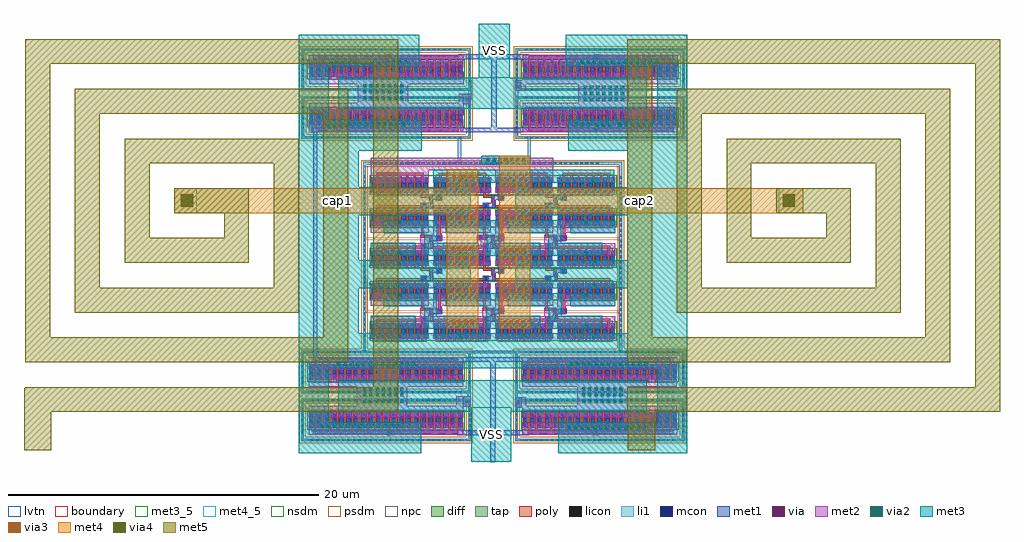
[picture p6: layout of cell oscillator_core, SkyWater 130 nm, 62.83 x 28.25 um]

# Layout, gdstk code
from math import pi, radians
import gdstk
lib = gdstk.Library(unit=1e-6, precision=1e-09)
def R(c, l, rs):  # rectangles x0, y0, x1, y1
    for r in rs: c.add(gdstk.rectangle(r[:2], r[2:], *l))
def A(c, l, x, y, w, h, nx, ny, dx, dy):  # array of equal rectangles
    R(c, l, [(x+i*dx, y+j*dy, x+i*dx+w, y+j*dy+h) for i in range(nx) for j in range(ny)])
diff = (65, 20)
tap = (65, 44)
poly = (66, 20)
licon = (66, 44)
li1 = (67, 20)
mcon = (67, 44)
met1 = (68, 20)
via = (68, 44)
met2 = (69, 20)
via2 = (69, 44)
met3_5 = (70, 5)
met3 = (70, 20)
via3 = (70, 44)
met4_5 = (71, 5)
met4 = (71, 20)
via4 = (71, 44)
met5 = (72, 20)
nsdm = (93, 44)
psdm = (94, 20)
npc = (95, 20)
lvtn = (125, 44)
boundary = (235, 4)

sky130_fd_pr__nfet_01v8_ = lib.new_cell('sky130_fd_pr__nfet_01v8_lvt_YTLFGX')
R(sky130_fd_pr__nfet_01v8_, diff, [(-4.95,-0.5,4.94,0.5)])
R(sky130_fd_pr__nfet_01v8_, tap, [(-5.46,-1.37,5.45,-1.2), (-5.46,-1.2,-5.29,1.2), (5.28,-1.2,5.45,1.2), (-5.46,1.2,5.45,1.37)])
A(sky130_fd_pr__nfet_01v8_, poly, -4.73, -0.94, 0.33, 0.08, 10, 1, 0.96, 0)
A(sky130_fd_pr__nfet_01v8_, poly, -4.64, -0.61, 0.15, 1.24, 20, 1, 0.48, 0)
R(sky130_fd_pr__nfet_01v8_, poly, [(-4.73,-0.86,4.63,-0.61)])
A(sky130_fd_pr__nfet_01v8_, licon, -4.85, -1.37, 0.17, 0.17, 29, 2, 0.34, 2.57)
A(sky130_fd_pr__nfet_01v8_, licon, -5.46, -0.765, 0.17, 0.17, 1, 5, 0, 0.34)
A(sky130_fd_pr__nfet_01v8_, licon, 5.28, -0.765, 0.17, 0.17, 1, 5, 0, 0.34)
A(sky130_fd_pr__nfet_01v8_, licon, -4.89, -0.425, 0.17, 0.17, 21, 3, 0.48, 0.34)
R(sky130_fd_pr__nfet_01v8_, licon, [(0.15,-0.86,0.32,-0.69)])
A(sky130_fd_pr__nfet_01v8_, li1, -4.89, -0.52, 0.17, 1.04, 21, 1, 0.48, 0)
R(sky130_fd_pr__nfet_01v8_, li1, [(-5.46,-1.37,5.45,-1.2), (-5.46,-1.2,-5.29,1.2), (5.28,-1.2,5.45,1.2), (0.07,-0.86,0.4,-0.69), (-5.46,1.2,5.45,1.37)])
A(sky130_fd_pr__nfet_01v8_, mcon, -4.89, -0.265, 0.17, 0.17, 21, 2, 0.48, 0.36)
R(sky130_fd_pr__nfet_01v8_, mcon, [(0.15,-0.86,0.32,-0.69)])
A(sky130_fd_pr__nfet_01v8_, met1, -4.97, -0.5, 0.33, 0.36, 11, 1, 0.96, 0)
A(sky130_fd_pr__nfet_01v8_, met1, -4.44, -0.5, 0.23, 0.64, 10, 1, 0.96, 0)
A(sky130_fd_pr__nfet_01v8_, met1, -4.92, -0.14, 0.23, 0.64, 11, 1, 0.96, 0)
A(sky130_fd_pr__nfet_01v8_, met1, -4.49, 0.14, 0.33, 0.36, 10, 1, 0.96, 0)
R(sky130_fd_pr__nfet_01v8_, met1, [(-4.73,-0.9,4.63,-0.66)])
A(sky130_fd_pr__nfet_01v8_, via, -4.875, -0.395, 0.15, 0.15, 11, 1, 0.96, 0)
A(sky130_fd_pr__nfet_01v8_, via, -4.395, 0.245, 0.15, 0.15, 10, 1, 0.96, 0)
R(sky130_fd_pr__nfet_01v8_, met2, [(-4.98,-0.94,4.97,-0.14), (-4.97,0.14,4.98,0.94)])
R(sky130_fd_pr__nfet_01v8_, nsdm, [(-5.075,-0.625,5.065,0.625)])
R(sky130_fd_pr__nfet_01v8_, psdm, [(-5.585,-1.495,5.575,-1.075), (-5.585,-1.075,-5.165,1.075), (5.155,-1.075,5.575,1.075), (-5.585,1.075,5.575,1.495)])
R(sky130_fd_pr__nfet_01v8_, npc, [(0.05,-0.96,0.42,-0.59)])
R(sky130_fd_pr__nfet_01v8_, lvtn, [(-4.82,-0.68,4.81,0.68)])
R(sky130_fd_pr__nfet_01v8_, boundary, [(-5.37,-1.28,5.37,1.28)])

c_sky130_fd_pr__nfet_01v8_ = lib.new_cell('sky130_fd_pr__nfet_01v8_lvt_WKNS5B')
R(c_sky130_fd_pr__nfet_01v8_, diff, [(-1.71,-0.45,1.94,0.55)])
A(c_sky130_fd_pr__nfet_01v8_, poly, -1.4, -0.6, 0.15, 1.3, 7, 1, 0.48, 0)
R(c_sky130_fd_pr__nfet_01v8_, poly, [(-1.4,0.7,1.65,0.85)])
A(c_sky130_fd_pr__nfet_01v8_, licon, -1.65, -0.375, 0.17, 0.17, 8, 3, 0.48, 0.34)
A(c_sky130_fd_pr__nfet_01v8_, li1, -1.65, -0.47, 0.17, 1.04, 8, 1, 0.48, 0)
A(c_sky130_fd_pr__nfet_01v8_, mcon, -1.65, -0.215, 0.17, 0.17, 8, 2, 0.48, 0.36)
A(c_sky130_fd_pr__nfet_01v8_, met1, -1.75, -0.45, 0.375, 0.35, 3, 1, 0.95, 0)
A(c_sky130_fd_pr__nfet_01v8_, met1, -0.3, 0.2, 0.375, 0.35, 3, 1, 0.95, 0)
R(c_sky130_fd_pr__nfet_01v8_, met1, [(-1.225,-0.45,-0.95,0.2), (-0.275,-0.45,0,0.2), (0.7,-0.45,0.975,0.2), (1.125,-0.45,1.5,-0.1), (1.65,-0.45,1.925,0.2), (-1.7,-0.1,-1.425,0.55), (-0.75,-0.1,-0.475,0.55), (0.225,-0.1,0.5,0.55), (1.175,-0.1,1.45,0.55), (-1.275,0.2,-0.9,0.55)])
A(c_sky130_fd_pr__nfet_01v8_, via, -1.64, -0.365, 0.15, 0.15, 3, 1, 0.95, 0)
A(c_sky130_fd_pr__nfet_01v8_, via, -0.19, 0.31, 0.15, 0.15, 3, 1, 0.95, 0)
R(c_sky130_fd_pr__nfet_01v8_, via, [(1.235,-0.365,1.385,-0.215), (-1.165,0.31,-1.015,0.46)])
R(c_sky130_fd_pr__nfet_01v8_, met2, [(-1.75,-0.45,1.975,-0.1), (-1.75,0.2,1.975,0.55)])
R(c_sky130_fd_pr__nfet_01v8_, nsdm, [(-1.835,-0.575,2.065,0.675)])
R(c_sky130_fd_pr__nfet_01v8_, lvtn, [(-1.58,-0.63,1.81,0.73)])
R(c_sky130_fd_pr__nfet_01v8_, boundary, [(-2.25,-1.28,2.25,1.28)])

oscillator_core = lib.new_cell('oscillator_core')
R(oscillator_core, tap, [(29.35,-1.93,29.52,10.2), (45.85,-1.77,46.02,10.2), (29.35,10.2,46.02,10.39)])
A(oscillator_core, poly, 33.05, 0.15, 0.4, 0.3, 3, 2, 4, 2.6)
A(oscillator_core, poly, 33.675, 0.15, 0.775, 0.15, 3, 2, 4, 2.6)
A(oscillator_core, poly, 33.675, 0.3, 0.15, 0.5, 3, 2, 4, 2.6)
A(oscillator_core, poly, 34.05, 0.65, 0.4, 0.3, 3, 2, 4, 2.6)
A(oscillator_core, poly, 33.075, 0.8, 0.75, 0.15, 3, 2, 4, 2.6)
A(oscillator_core, poly, 33.05, 4.85, 0.4, 0.3, 3, 2, 4, 2.6)
A(oscillator_core, poly, 33.675, 4.85, 0.775, 0.15, 3, 1, 4, 0)
A(oscillator_core, poly, 33.675, 5, 0.15, 0.5, 3, 2, 4, 2.6)
A(oscillator_core, poly, 34.05, 5.35, 0.4, 0.3, 3, 2, 4, 2.6)
A(oscillator_core, poly, 33.075, 8.1, 0.75, 0.15, 3, 1, 4, 0)
R(oscillator_core, poly, [(33.08,0.95,33.23,1.51), (34.2,0.95,34.35,1.57), (37.08,0.95,37.23,1.5), (38.2,0.95,38.35,1.57), (41.08,0.95,41.23,1.5), (42.2,0.95,42.35,1.58), (36.69,5.4,37.09,5.5), (33.075,5.5,33.825,5.65), (36.69,5.5,37.825,5.65), (41.075,5.5,41.825,5.65), (33.08,5.65,33.23,6.21), (34.2,5.65,34.35,6.27), (36.69,5.65,37.23,5.7), (38.2,5.65,38.35,6.29), (41.08,5.65,41.23,6.2), (42.2,5.65,42.35,6.32), (37.08,5.7,37.23,6.2), (33.675,7.45,34.25,7.6), (37.675,7.45,38.45,7.6), (41.675,7.45,42.45,7.6)])
A(oscillator_core, licon, 45.85, -0.895, 0.17, 0.17, 1, 31, 0, 0.34)
A(oscillator_core, licon, 29.35, -0.845, 0.17, 0.17, 1, 31, 0, 0.34)
A(oscillator_core, licon, 33.165, 0.2, 0.17, 0.17, 3, 2, 4, 2.6)
A(oscillator_core, licon, 34.165, 0.7, 0.17, 0.17, 3, 2, 4, 2.6)
A(oscillator_core, licon, 33.165, 4.9, 0.17, 0.17, 3, 2, 4, 2.6)
A(oscillator_core, licon, 34.165, 5.4, 0.17, 0.17, 3, 2, 4, 2.6)
A(oscillator_core, licon, 30.065, 10.21, 0.17, 0.17, 43, 1, 0.34, 0)
R(oscillator_core, licon, [(36.805,5.45,36.975,5.62)])
A(oscillator_core, li1, 33.085, 0.2, 0.33, 0.17, 3, 2, 4, 2.6)
A(oscillator_core, li1, 34.085, 0.7, 0.33, 0.17, 3, 2, 4, 2.6)
A(oscillator_core, li1, 33.085, 4.9, 0.33, 0.17, 3, 2, 4, 2.6)
A(oscillator_core, li1, 34.085, 5.4, 0.33, 0.17, 3, 2, 4, 2.6)
R(oscillator_core, li1, [(39.13,-5.44,39.56,-4.75), (35.75,-5.37,36.27,-5.03), (35.75,-5.03,36.28,-4.69), (39.13,-4.75,39.31,-4.31), (36.1,-4.69,36.28,-4.31), (29.35,-1.93,29.52,10.2), (36.11,-1.93,39.3,-1.76), (45.85,-1.77,46.02,10.2), (36.725,5.45,37.055,5.62), (29.35,10.2,46.02,10.39), (35.45,10.39,35.66,12.02), (39.94,10.39,40.15,12.06), (35.77,14.1,36.28,14.39), (39.16,14.38,39.34,14.98), (35.77,14.39,36.3,14.79), (36.12,14.79,36.3,15.73), (39.16,14.98,39.54,15.51), (39.16,15.51,39.34,15.72)])
A(oscillator_core, mcon, 33.165, 0.2, 0.17, 0.17, 3, 2, 4, 2.6)
A(oscillator_core, mcon, 34.165, 0.7, 0.17, 0.17, 3, 2, 4, 2.6)
A(oscillator_core, mcon, 33.165, 4.9, 0.17, 0.17, 3, 2, 4, 2.6)
A(oscillator_core, mcon, 34.165, 5.4, 0.17, 0.17, 3, 2, 4, 2.6)
R(oscillator_core, mcon, [(39.225,-5.195,39.395,-5.025), (35.965,-5.115,36.135,-4.945), (36.805,5.45,36.975,5.62), (35.95,14.355,36.12,14.525), (39.255,15.16,39.425,15.33)])
A(oscillator_core, met1, 33.06, 0.15, 0.815, 0.3, 3, 2, 4, 2.6)
A(oscillator_core, met1, 33.6, 0.45, 0.275, 0.2, 3, 2, 4, 2.6)
A(oscillator_core, met1, 33.6, 0.65, 0.835, 0.3, 3, 2, 4, 2.6)
A(oscillator_core, met1, 33.6, 5.35, 0.835, 0.3, 3, 2, 4, 2.6)
A(oscillator_core, met1, 33.06, 7.45, 0.815, 0.3, 3, 1, 4, 0)
A(oscillator_core, met1, 33.6, 7.75, 0.275, 0.2, 3, 1, 4, 0)
R(oscillator_core, met1, [(37.52,-8.95,37.87,-7.19), (35.41,-7.19,40.06,-6.89), (37.55,-6.89,37.9,-2.47), (39.13,-5.44,39.56,-4.75), (35.75,-5.37,36.27,-4.69), (35.44,-2.47,40.04,-2.17), (26.11,-2.45,26.475,-2.15), (26.125,-2.15,26.4,12.275), (33.06,4.85,33.875,5.15), (37.06,4.85,38.43,5.15), (41.06,4.85,41.875,5.15), (33.6,5.15,33.875,5.35), (37.6,5.15,38.43,5.35), (41.6,5.15,41.875,5.35), (36.68,5.4,37.27,5.7), (26.01,12.275,26.4,12.55), (35.575,12.29,39.9,12.35), (35.43,12.35,40.03,12.59), (26.01,12.55,26.375,12.575), (37.6,12.59,37.95,17.01), (35.77,14.1,36.28,14.79), (39.17,14.98,39.54,15.51), (35.46,17.01,40.01,17.31)])
R(oscillator_core, via, [(39.235,-5.18,39.385,-5.03), (35.95,-5.095,36.1,-4.945), (38.075,4.935,38.225,5.085), (36.82,5.485,36.97,5.635), (35.965,14.39,36.115,14.54), (39.29,15.17,39.44,15.32)])
A(oscillator_core, met2, 31.35, -0.975, 0.675, 0.3, 1, 3, 0, 4.7)
A(oscillator_core, met2, 39.35, -0.975, 0.675, 0.3, 1, 3, 0, 4.7)
A(oscillator_core, met2, 29.85, -0.35, 3.725, 0.8, 4, 2, 4, 1.5)
A(oscillator_core, met2, 33.025, 0.45, 0.55, 0.15, 3, 1, 4, 0)
A(oscillator_core, met2, 33.025, 0.6, 1.375, 0.4, 3, 1, 4, 0)
A(oscillator_core, met2, 33.85, 1, 0.55, 0.15, 3, 2, 4, 4.7)
A(oscillator_core, met2, 29.85, 4.35, 3.725, 0.8, 4, 2, 4, 1.5)
R(oscillator_core, met2, [(42.5,-6.9,47.6,-6.5), (26.6,-6.8,31.7,-6.4), (43.125,-5.6,46.375,-3.675), (28.95,-5.575,32.2,-3.65), (39.13,-5.44,39.86,-4.75), (35.35,-5.37,36.27,-4.69), (27.6,-2.8,32.8,-2.4), (42.6,-2.8,47.7,-2.4), (35.375,-0.975,36.05,-0.675), (43.85,-0.975,44.525,-0.675), (31.375,2.275,32.05,2.575), (35.375,2.275,36.05,2.575), (39.325,2.275,40,2.575), (43.85,2.275,44.525,2.575), (35.375,3.725,36.05,4.025), (43.85,3.725,44.525,4.025), (33.025,5.15,33.575,5.3), (36.68,5.15,37.575,5.3), (41.025,5.15,41.575,5.3), (33.025,5.3,34.4,5.7), (36.68,5.3,38.4,5.7), (41.025,5.3,42.4,5.7), (31.375,6.975,32.05,7.275), (35.375,6.975,36.05,7.275), (39.325,6.975,40,7.275), (43.85,6.975,44.525,7.275), (35.375,8.425,36.05,8.725), (43.85,8.425,44.525,8.725), (29.85,9.05,33.575,9.85), (37.85,9.05,41.575,9.85), (35.375,9.075,36.05,9.375), (43.85,9.075,44.525,9.375), (29.85,9.85,41.575,10.675), (44.15,12.625,45.5,12.64), (26.88,12.64,32.16,12.96), (42.88,12.64,48.16,12.96), (29.28,12.96,30.7,13), (29,13.85,32.25,15.775), (43.2,13.9,46.45,15.825), (35.51,14.1,36.28,14.79), (39.17,14.98,39.81,15.66), (29.225,16.625,30.575,16.64), (27.04,16.64,32.32,16.96), (43.2,16.64,48.48,16.96), (44,16.96,45.44,17.12)])
A(oscillator_core, via2, 42.55, -6.8, 0.2, 0.2, 13, 1, 0.4, 0)
A(oscillator_core, via2, 26.65, -6.7, 0.2, 0.2, 13, 1, 0.4, 0)
A(oscillator_core, via2, 29.35, -5.1, 0.2, 0.2, 7, 3, 0.4, 0.4)
A(oscillator_core, via2, 43.45, -5.1, 0.2, 0.2, 7, 3, 0.4, 0.4)
A(oscillator_core, via2, 27.7, -2.7, 0.2, 0.2, 13, 1, 0.4, 0)
A(oscillator_core, via2, 42.65, -2.7, 0.2, 0.2, 13, 1, 0.4, 0)
A(oscillator_core, via2, 31.585, -0.925, 0.2, 0.2, 1, 3, 0, 4.7)
A(oscillator_core, via2, 39.585, -0.925, 0.2, 0.2, 1, 3, 0, 4.7)
A(oscillator_core, via2, 31.585, -0.275, 0.2, 0.2, 4, 2, 4, 4.7)
A(oscillator_core, via2, 31.61, 1.675, 0.2, 0.2, 4, 2, 4, 4.7)
A(oscillator_core, via2, 37.285, 10.385, 0.2, 0.2, 4, 1, 0.4, 0)
A(oscillator_core, via2, 44.325, 12.69, 0.2, 0.2, 3, 1, 0.4, 0)
A(oscillator_core, via2, 27.02, 12.7, 0.2, 0.2, 13, 1, 0.4, 0)
A(oscillator_core, via2, 42.955, 12.7, 0.2, 0.2, 3, 1, 0.4, 0)
A(oscillator_core, via2, 45.79, 12.7, 0.2, 0.2, 6, 1, 0.4, 0)
A(oscillator_core, via2, 43.55, 14.3, 0.2, 0.2, 7, 3, 0.4, 0.4)
A(oscillator_core, via2, 29.35, 14.4, 0.2, 0.2, 7, 3, 0.4, 0.4)
A(oscillator_core, via2, 29.4, 16.69, 0.2, 0.2, 3, 1, 0.4, 0)
A(oscillator_core, via2, 27.17, 16.7, 0.2, 0.2, 5, 1, 0.4, 0)
A(oscillator_core, via2, 30.805, 16.7, 0.2, 0.2, 4, 1, 0.4, 0)
A(oscillator_core, via2, 43.34, 16.7, 0.2, 0.2, 13, 1, 0.4, 0)
R(oscillator_core, via2, [(35.61,-0.925,35.81,-0.725), (44.085,-0.925,44.285,-0.725), (31.61,2.325,31.81,2.525), (35.61,2.325,35.81,2.525), (39.56,2.325,39.76,2.525), (44.085,2.325,44.285,2.525), (35.61,3.775,35.81,3.975), (44.085,3.775,44.285,3.975), (31.61,7.025,31.81,7.225), (35.61,7.025,35.81,7.225), (39.56,7.025,39.76,7.225), (44.085,7.025,44.285,7.225), (35.61,8.475,35.81,8.675), (44.085,8.475,44.285,8.675), (35.61,9.125,35.81,9.325), (44.085,9.125,44.285,9.325)])
R(oscillator_core, met3_5, [(36.3,-8.9,38.9,-5.4), (36.8,15.8,38.8,19.3)])
R(oscillator_core, met3, [(36.3,-8.9,38.9,-5.675), (25.2,-8.375,33.1,-6.375), (41.9,-8.375,50.225,-6.375), (25.2,-6.375,27.125,-2.875), (48.3,-6.375,50.225,-2.875), (27.75,-5.675,47.625,-3.675), (25.2,-2.875,50.225,-0.65), (25.2,-0.65,29.075,2.25), (46.35,-0.65,50.225,2.25), (29.85,-0.35,32.75,0.5), (33.275,-0.35,36.75,0.5), (37.275,-0.35,40.75,0.5), (41.3,-0.35,44.75,0.5), (33.275,0.5,34.1,1.1), (37.275,0.5,38.1,1.1), (41.3,0.5,42.125,1.1), (30.675,1.1,34.1,1.95), (34.675,1.1,38.1,1.95), (38.675,1.1,42.125,1.95), (42.675,1.1,45.575,1.95), (25.2,2.25,36.275,4.05), (39.15,2.25,50.225,4.05), (25.2,4.05,29.075,6.95), (46.35,4.05,50.225,6.95), (29.85,4.35,32.75,5.2), (33.3,4.35,36.75,5.2), (37.3,4.35,40.75,5.2), (41.275,4.35,44.75,5.2), (33.3,5.2,34.125,5.8), (37.3,5.2,38.125,5.8), (41.275,5.2,42.1,5.8), (30.675,5.8,34.125,6.65), (34.675,5.8,38.125,6.65), (38.675,5.8,42.1,6.65), (42.675,5.8,45.575,6.65), (25.2,6.95,36.275,8.75), (39.15,6.95,50.225,8.75), (25.2,8.75,29.075,11.1), (46.35,8.75,50.225,11.1), (33.875,9.05,45.525,9.9), (36.97,10.25,40.1,10.8), (25.2,11.1,33.12,13.1), (42.56,11.1,50.225,13.1), (25.2,13.1,27.125,16.525), (48.3,13.1,50.225,16.525), (27.75,13.825,47.625,15.825), (36.8,15.825,38.8,19.3), (25.2,16.525,32.96,18.575), (42.4,16.525,50.225,18.575)])
A(oscillator_core, via3, 38.4, -0.025, 0.2, 0.2, 4, 1, 0.4, 0)
A(oscillator_core, via3, 35.05, 0, 0.2, 0.2, 4, 1, 0.4, 0)
A(oscillator_core, via3, 38.375, 4.65, 0.2, 0.2, 4, 1, 0.4, 0)
A(oscillator_core, via3, 35.025, 4.7, 0.2, 0.2, 4, 1, 0.4, 0)
A(oscillator_core, via3, 35.075, 9.375, 0.2, 0.2, 4, 1, 0.4, 0)
A(oscillator_core, via3, 38.41, 10.44, 0.2, 0.2, 4, 1, 0.4, 0)
R(oscillator_core, met4_5, [(18.6,7.1,36.75,8.7), (38.1,7.1,56.15,8.7)])
R(oscillator_core, met4, [(34.725,-0.35,36.75,7.1), (38.1,-0.35,40.1,7.1), (17.2,7.1,36.75,8.7), (38.1,7.1,57.7,8.7), (34.725,8.7,36.75,9.925), (38.1,8.7,40.1,10.8)])
R(oscillator_core, via4, [(17.6,7.5,18.4,8.3), (56.35,7.5,57.15,8.3)])
R(oscillator_core, met5, [(7.52,-8.16,9.28,-5.7), (46.4,-8.16,48.16,-5.7), (7.52,-5.7,31.6,-4.16), (46.35,-5.7,70.35,-4.1), (7.6,-4.16,31.6,-4.1), (30,-4.1,31.6,16.7), (68.75,-4.1,70.35,16.7), (7.6,-2.5,28.4,-0.9), (46.35,-2.5,67.15,-0.9), (7.6,-0.9,9.2,16.7), (26.8,-0.9,28.4,13.5), (46.35,-0.9,47.95,16.7), (65.55,-0.9,67.15,13.5), (10.8,0.7,25.2,2.3), (49.55,0.7,63.95,2.3), (10.8,2.3,12.4,13.5), (23.6,2.3,25.2,10.3), (49.55,2.3,51.15,13.5), (62.35,2.3,63.95,10.3), (14,3.9,22,5.5), (52.75,3.9,60.75,5.5), (14,5.5,15.6,10.3), (20.4,5.5,22,7.1), (52.75,5.5,54.35,10.3), (59.15,5.5,60.75,7.1), (17.2,7.1,22,8.7), (55.95,7.1,60.75,8.7), (14,10.3,25.2,11.9), (52.75,10.3,63.95,11.9), (10.8,13.5,28.4,15.1), (49.55,13.5,67.15,15.1), (7.6,16.7,31.6,18.3), (46.35,16.7,70.35,18.3)])
A(oscillator_core, nsdm, 33.665, -1.125, 0.1, 1.25, 3, 2, 4, 2.6)
A(oscillator_core, nsdm, 33.665, 3.575, 0.1, 1.25, 3, 2, 4, 2.6)
R(oscillator_core, nsdm, [(33.665,8.275,33.78,9.525), (37.68,8.275,37.765,9.525), (41.665,8.275,41.765,9.525)])
R(oscillator_core, psdm, [(25.245,-4.735,36.405,-4.625), (39.005,-4.735,50.165,-4.625), (29.225,-2.055,29.645,10.075), (45.725,-1.895,46.145,10.075), (29.225,10.075,46.145,10.515), (25.255,14.745,36.415,14.855), (39.035,14.745,50.195,14.855)])
A(oscillator_core, npc, 33.065, 0.1, 0.37, 0.37, 3, 2, 4, 2.6)
A(oscillator_core, npc, 34.065, 0.6, 0.37, 0.37, 3, 2, 4, 2.6)
A(oscillator_core, npc, 34.065, 5.3, 0.37, 0.37, 3, 2, 4, 2.6)
A(oscillator_core, npc, 33.065, 7.4, 0.37, 0.37, 3, 1, 4, 0)
R(oscillator_core, npc, [(33.065,4.8,33.435,5.17), (37.065,4.8,37.435,4.935), (41.065,4.8,41.435,5.17), (36.935,4.935,37.435,5.17), (36.935,5.17,37.205,5.35), (36.705,5.35,37.205,5.585), (36.705,5.585,37.075,5.72)])
oscillator_core.add(gdstk.Reference(sky130_fd_pr__nfet_01v8_, (30.83,-3.13), x_reflection=True))
oscillator_core.add(gdstk.Reference(sky130_fd_pr__nfet_01v8_, (30.83,-6.23)))
oscillator_core.add(gdstk.Reference(sky130_fd_pr__nfet_01v8_, (44.58,-3.13), rotation=pi))
oscillator_core.add(gdstk.Reference(sky130_fd_pr__nfet_01v8_, (44.58,-6.23), rotation=pi, x_reflection=True))
oscillator_core.add(gdstk.Reference(c_sky130_fd_pr__nfet_01v8_, (35.6,-0.55)))
oscillator_core.add(gdstk.Reference(c_sky130_fd_pr__nfet_01v8_, (31.6,-0.55)))
oscillator_core.add(gdstk.Reference(c_sky130_fd_pr__nfet_01v8_, (39.6,-0.55)))
oscillator_core.add(gdstk.Reference(c_sky130_fd_pr__nfet_01v8_, (43.6,-0.55)))
oscillator_core.add(gdstk.Reference(c_sky130_fd_pr__nfet_01v8_, (35.6,2.05)))
oscillator_core.add(gdstk.Reference(c_sky130_fd_pr__nfet_01v8_, (31.83,2.05), rotation=pi, x_reflection=True))
oscillator_core.add(gdstk.Reference(c_sky130_fd_pr__nfet_01v8_, (39.6,2.05)))
oscillator_core.add(gdstk.Reference(c_sky130_fd_pr__nfet_01v8_, (43.6,2.05)))
oscillator_core.add(gdstk.Reference(c_sky130_fd_pr__nfet_01v8_, (35.6,4.15)))
oscillator_core.add(gdstk.Reference(c_sky130_fd_pr__nfet_01v8_, (31.6,4.15)))
oscillator_core.add(gdstk.Reference(c_sky130_fd_pr__nfet_01v8_, (43.6,4.15)))
oscillator_core.add(gdstk.Reference(c_sky130_fd_pr__nfet_01v8_, (39.6,4.15)))
oscillator_core.add(gdstk.Reference(c_sky130_fd_pr__nfet_01v8_, (35.615,8.85)))
oscillator_core.add(gdstk.Reference(c_sky130_fd_pr__nfet_01v8_, (31.6,6.75)))
oscillator_core.add(gdstk.Reference(c_sky130_fd_pr__nfet_01v8_, (35.6,6.75)))
oscillator_core.add(gdstk.Reference(c_sky130_fd_pr__nfet_01v8_, (31.6,8.85)))
oscillator_core.add(gdstk.Reference(c_sky130_fd_pr__nfet_01v8_, (39.6,6.75)))
oscillator_core.add(gdstk.Reference(c_sky130_fd_pr__nfet_01v8_, (43.6,8.85)))
oscillator_core.add(gdstk.Reference(c_sky130_fd_pr__nfet_01v8_, (39.6,8.85)))
oscillator_core.add(gdstk.Reference(c_sky130_fd_pr__nfet_01v8_, (43.6,6.75)))
oscillator_core.add(gdstk.Reference(sky130_fd_pr__nfet_01v8_, (30.84,13.25)))
oscillator_core.add(gdstk.Reference(sky130_fd_pr__nfet_01v8_, (44.61,13.25), rotation=pi, x_reflection=True))
oscillator_core.add(gdstk.Reference(sky130_fd_pr__nfet_01v8_, (30.84,16.35), x_reflection=True))
oscillator_core.add(gdstk.Reference(sky130_fd_pr__nfet_01v8_, (44.61,16.35), rotation=pi))
oscillator_core.add(gdstk.Label('cap2', (47.125,7.9), layer=71, texttype=5))
oscillator_core.add(gdstk.Label('cap1', (27.675,7.9), layer=71, texttype=5))
oscillator_core.add(gdstk.Label('VSS', (37.8,17.55), layer=70, texttype=5))
oscillator_core.add(gdstk.Label('VSS', (37.6,-7.15), layer=70, texttype=5))

lib.write_gds('oscillator_core.gds')
